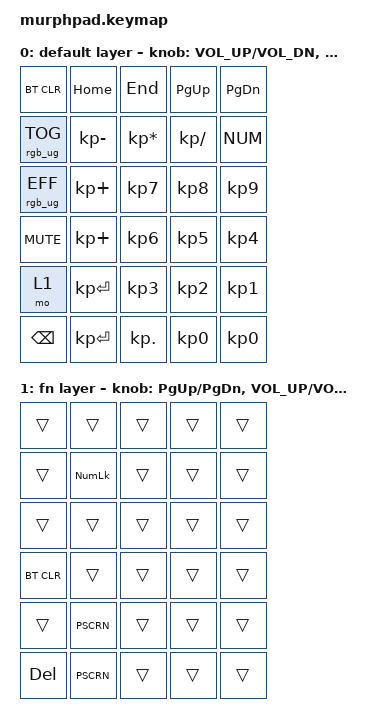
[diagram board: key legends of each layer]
/*
 * Copyright (c) 2021 Kyle McCreery
 *
 * SPDX-License-Identifier: MIT
 */

#include <behaviors.dtsi>
#include <dt-bindings/zmk/keys.h>
#include <dt-bindings/zmk/bt.h>
#include <dt-bindings/zmk/rgb.h>

#define TIMEOUT 300

/* Layer Names*/
#define DEFAULT 0
#define FN      1


&encoder_1 {
	status = "okay";
};

&encoder_2 {
	status = "okay";
};

/* Combo Definitions*/
/ {
    combos {
        compatible = "zmk,combos";
        combo_btclr {
            timeout-ms = <TIMEOUT>;
            key-positions = <1 6>;
            bindings = <&bt BT_CLR>;
        };
        combo_reset {
            timeout-ms = <TIMEOUT>;
            key-positions = <1 3>;
            bindings = <&reset>;
        };
        combo_bootloader {
            timeout-ms = <TIMEOUT>;
            key-positions = <1 2>;
            bindings = <&bootloader>;
        };
        combo_bt_nxt {
            timeout-ms = <TIMEOUT>;
            key-positions = <1 4>;
            bindings = <&bt BT_NXT>;
        };
    };

	sensors {
		compatible = "zmk,keymap-sensors";
		sensors = <&encoder_1 &encoder_2>;
	};


	keymap0: keymap {
		compatible = "zmk,keymap";

		default_layer {
		label = "default layer";
            bindings = <
                &bt BT_CLR       &kp HOME          &kp END              &kp PG_UP          &kp PG_DN   
                &rgb_ug RGB_TOG  &kp KP_MINUS      &kp KP_MULTIPLY      &kp KP_DIVIDE      &kp NUM    
                &rgb_ug RGB_EFF  &kp KP_PLUS       &kp KP_N7            &kp KP_N8          &kp KP_N9  
                &kp C_MUTE       &kp KP_PLUS       &kp KP_N6            &kp KP_N5          &kp KP_N4
                &mo 1            &kp KP_ENTER      &kp KP_N3            &kp KP_N2          &kp KP_N1
                &kp BSPC         &kp KP_ENTER      &kp KP_DOT           &kp KP_N0          &kp KP_N0
            >;
			sensor-bindings = <&inc_dec_kp C_VOL_UP C_VOL_DN &inc_dec_kp PG_UP PG_DN>;

        }; 

        fn_layer {
		label = "fn layer";
            bindings = <
                &trans      &trans     &trans        &trans          &trans  
                &trans      &kp KP_NUM &trans        &trans          &trans     
                &trans      &trans     &trans        &trans	     &trans
                &bt BT_CLR  &trans     &trans        &trans          &trans    
                &trans      &PSCRN     &trans        &trans          &trans
                &kp DEL     &PSCRN     &trans        &trans          &trans           
            >;  
			sensor-bindings = <&inc_dec_kp PG_UP PG_DN &inc_dec_kp C_VOL_UP C_VOL_DN>;

        };
    };
};
